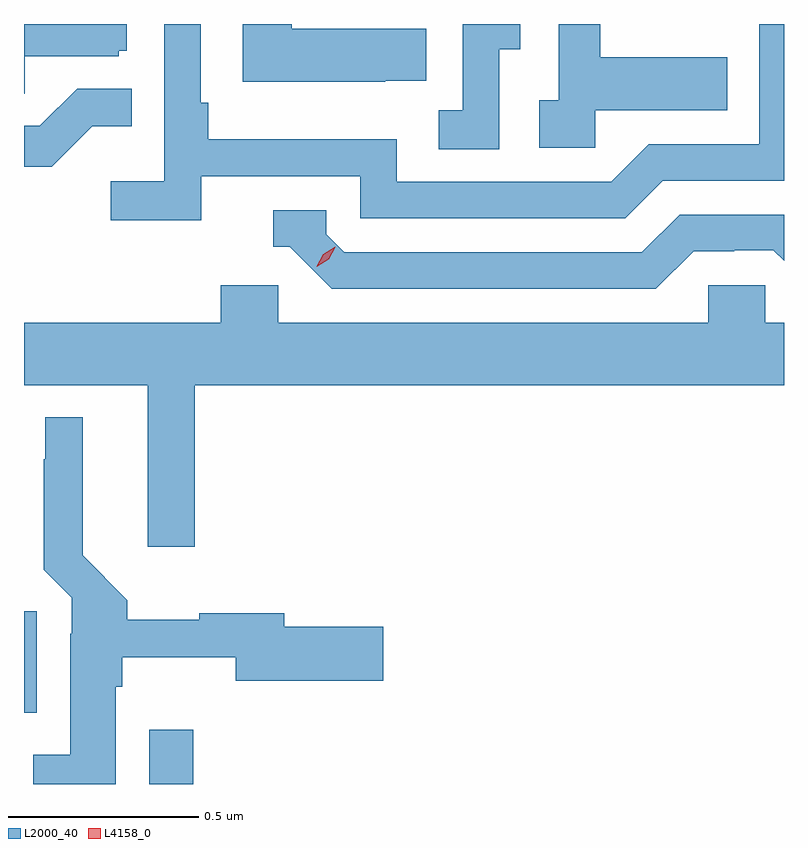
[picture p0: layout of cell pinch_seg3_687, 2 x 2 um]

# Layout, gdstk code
import gdstk
lib = gdstk.Library(unit=1e-6, precision=1e-09)
def R(c, l, rs):  # rectangles x0, y0, x1, y1
    for r in rs: c.add(gdstk.rectangle(r[:2], r[2:], *l))
def P(c, l, *ps):  # polygons
    for p in ps: c.add(gdstk.Polygon(p, *l))
L2000_40 = (2000, 40)
L4158_0 = (4158, 0)

pinch_seg3_687 = lib.new_cell('pinch_seg3_687')
R(pinch_seg3_687, L2000_40, [(1133.481,678.554,1133.597,678.697), (1133.151,678.741,1133.185,679.009)])
P(pinch_seg3_687, L2000_40, [(1134.101,680.405),(1134.209,680.405),(1134.209,680.542),(1133.856,680.542),(1133.856,680.554),(1133.726,680.554),(1133.726,680.402),(1134.101,680.402)],
  [(1133.153,680.469),(1133.4,680.469),(1133.4,680.484),(1133.422,680.484),(1133.422,680.554),(1133.151,680.554),(1133.151,680.371),(1133.153,680.371)],
  [(1134.654,680.327),(1135.001,680.327),(1135.001,680.467),(1134.667,680.467),(1134.667,680.554),(1134.558,680.554),(1134.558,680.354),(1134.507,680.354),(1134.507,680.229),(1134.654,680.229)],
  [(1134.402,680.488),(1134.457,680.488),(1134.457,680.554),(1134.306,680.554),(1134.306,680.327),(1134.243,680.327),(1134.243,680.224),(1134.402,680.224)],
  [(1133.618,680.154),(1134.036,680.154),(1134.036,680.043),(1134.733,680.043),(1134.832,680.142),(1135.151,680.142),(1135.151,680.554),(1135.086,680.554),(1135.086,680.238),(1134.795,680.238),(1134.696,680.139),(1134.132,680.139),(1134.132,680.251),(1133.636,680.251),(1133.636,680.347),(1133.616,680.347),(1133.616,680.554),(1133.52,680.554),(1133.52,680.14),(1133.379,680.14),(1133.379,680.038),(1133.618,680.038)],
  [(1133.331,680.285),(1133.435,680.285),(1133.435,680.384),(1133.291,680.384),(1133.193,680.286),(1133.151,680.286),(1133.151,680.178),(1133.224,680.178)],
  [(1134.913,679.956),(1135.02,679.956),(1135.02,679.959),(1135.123,679.959),(1135.151,679.931),(1135.151,680.052),(1134.876,680.052),(1134.777,679.953),(1133.994,679.953),(1133.946,680.001),(1133.946,680.064),(1133.807,680.064),(1133.807,679.968),(1133.85,679.968),(1133.961,679.857),(1134.814,679.857)],
  [(1133.6,679.604),(1135.151,679.604),(1135.151,679.768),(1135.101,679.768),(1135.101,679.866),(1134.951,679.866),(1134.951,679.768),(1133.82,679.768),(1133.82,679.866),(1133.669,679.866),(1133.669,679.768),(1133.151,679.768),(1133.151,679.604),(1133.477,679.604),(1133.477,679.179),(1133.6,679.179)],
  [(1133.392,678.81),(1133.41,678.81),(1133.41,678.887),(1133.708,678.887),(1133.708,678.826),(1134.097,678.826),(1134.097,678.968),(1133.836,678.968),(1133.836,679.004),(1133.612,679.004),(1133.612,678.986),(1133.423,678.986),(1133.423,679.038),(1133.305,679.156),(1133.305,679.519),(1133.207,679.519),(1133.207,679.409),(1133.203,679.409),(1133.203,679.118),(1133.277,679.044),(1133.277,678.95),(1133.273,678.95),(1133.273,678.631),(1133.175,678.631),(1133.175,678.554),(1133.392,678.554)])
P(pinch_seg3_687, L4158_0, [(1133.922,679.915),(1133.922,679.916),(1133.938,679.948),(1133.97,679.968),(1133.97,679.968),(1133.97,679.967),(1133.953,679.935),(1133.922,679.915)])

lib.write_gds('pinch_seg3_687.gds')
